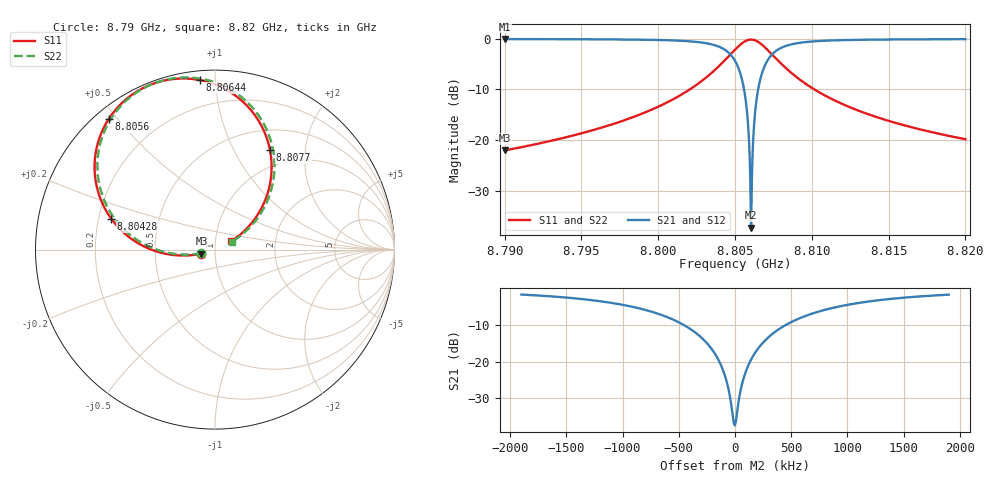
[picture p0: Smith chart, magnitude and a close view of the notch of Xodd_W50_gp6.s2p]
! Sonnet Data File
! From: emgraph Version : 16.52
! From Project: Qubit_Xmon2
! Data is De-embedded
! Data File Written: 10/18/2017 16:48:16
!< HDATE 10/18/2017 14:47:42
!< MDATE 10/18/2017 14:47:42
!< PARAMS
!< Lj = 11.0
!< Gap = 6.0
!< Pwid = 2000.0
!< Airgap = 30.0
!< Width = 50.0
!< END PARAMS
# GHZ S MA R 45.30000
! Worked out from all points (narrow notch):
!   3001 points, 8.79 GHz to 8.82 GHz, reference 45.3 ohm
!   highest |S21| = -0.03 dB at 8.79 GHz (marker M1); lowest = -37.3 dB at 8.80605 GHz (marker M2)
!   notch at M2: 37.2 dB deep, 317 kHz wide at half that depth
!   lowest |S11| = -22.1 dB at 8.79 GHz (marker M3), VSWR 1.17, Z = 38.9 - j1.74 ohm
!   |S11| at or under -10 dB: start of sweep to 8.802053 GHz; 8.810171 GHz to end of sweep
!   |S22| runs from -22.1 to -0.1 dB; largest |S21 - S12| = 0
!   S11 on the Smith chart (normalised r, x): 8.79 GHz: 0.86, -0.04; 8.80428 GHz: 0.25, +0.14; 8.8056 GHz: 0.04, +0.47; 8.80644 GHz: 0.05, +0.91; 8.8077 GHz: 0.76, +1.41; 8.82 GHz: 1.19, +0.11
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8.79  0.0788 -163.6  0.9968 -74.2  0.9968 -74.2  0.0788 -165.0
!< P1 F=8.79 Eeff=(4.74953887 -6.4479e-5) Z0=(45.1259111 -2.0732e-4) R=0.0 C=0.0
!< P2 F=8.79 Eeff=(4.74953887 -6.4479e-5) Z0=(45.1259111 -2.0732e-4) R=0.0 C=0.0
8.795  0.1165 -165.7  0.993 -76.4  0.993 -76.4  0.1165 -167.4
8.8  0.2135 -171.4  0.9763 -82.1  0.9763 -82.1  0.2135 -173.2
8.80284  0.3841 178.2  0.921 -92.4  0.921 -92.4  0.3841 176.3
8.80428  0.6027 163.5  0.7917 -106.9  0.7917 -106.9  0.6027 161.6
8.805  0.7833 148.6  0.608 -121.4  0.608 -121.4  0.7833 146.7
8.80534  0.8765 138.4  0.459 -131.0  0.459 -131.0  0.8765 136.5
8.8056  0.9379 129.2  0.3104 -139.4  0.3104 -139.4  0.9379 127.3
8.80578  0.9684 122.2  0.1916 -144.9  0.1916 -144.9  0.9684 120.2
8.80585  0.9765 119.3  0.1428 -146.3  0.1428 -146.3  0.9765 117.4
8.80595  0.9841 115.2  0.07184 -145.1  0.07184 -145.1  0.9841 113.2
8.80605  0.9866 111.0  0.01357 -61.1  0.01357 -61.1  0.9866 109.1
8.80614  0.9843 107.3  0.06876 5.1  0.06876 5.1  0.9843 105.3
8.80628  0.9727 101.5  0.1676 6.0  0.1676 6.0  0.9727 99.6
8.80644  0.9487 95.2  0.275 1.5  0.275 1.5  0.9487 93.2
8.80664  0.9061 87.8  0.3958 -4.9  0.3958 -4.9  0.9061 85.9
8.80691  0.8362 79.1  0.5309 -13.1  0.5309 -13.1  0.8362 77.1
8.8077  0.6329 61.0  0.7672 -30.6  0.7672 -30.6  0.6329 59.1
8.80869  0.4586 48.8  0.8855 -42.6  0.8855 -42.6  0.4586 46.8
8.81  0.3282 40.6  0.9431 -50.7  0.9431 -50.7  0.3282 38.5
8.815  0.1547 30.2  0.9876 -61.0  0.9876 -61.0  0.1547 28.0
8.82  0.1018 27.1  0.9947 -64.1  0.9947 -64.1  0.1018 24.8
